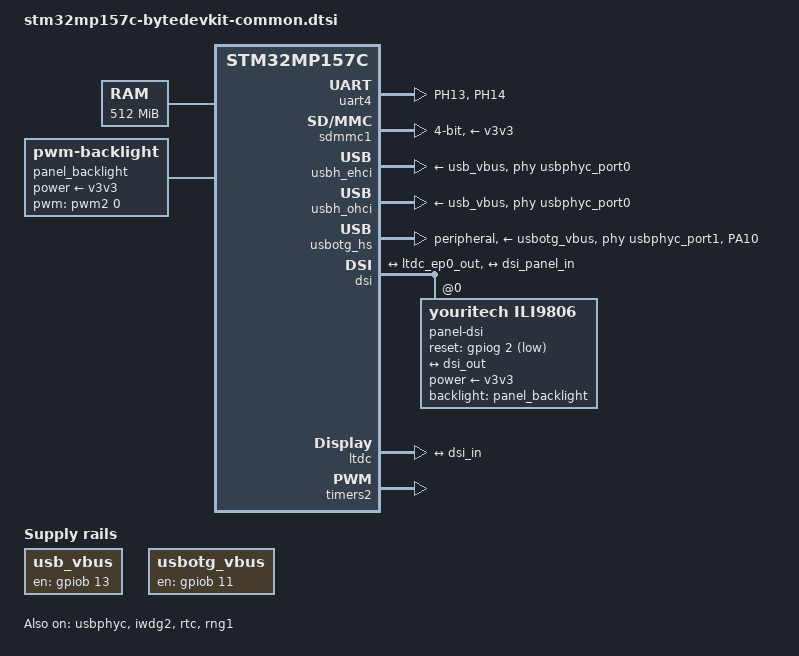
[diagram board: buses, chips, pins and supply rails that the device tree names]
// SPDX-License-Identifier: GPL-2.0
/*
 *  Copyright (C) 2020 bytes at work AG - http://www.bytesatwork.ch
 */

#include "stm32mp157c-byteengine-m5.dtsi"
#include <dt-bindings/net/ti-dp83867.h>

/ {
	aliases {
		serial0 = &uart4;
		ethernet0 = &ethernet0;
	};

	chosen {
		stdout-path = "serial0:115200n8";
	};

	memory@c0000000 {
		reg = <0xc0000000 0x20000000>;
	};

	usb_vbus: regulator-vbus {
		compatible = "regulator-fixed";
		regulator-name = "usb_en_vbus";
		gpio = <&gpiob 13 GPIO_ACTIVE_HIGH>;
		enable-active-high;
	};

	usbotg_vbus: regulator-vbus-otg {
		compatible = "regulator-fixed";
		regulator-name = "usbotg_en_vbus";
		gpio = <&gpiob 11 GPIO_ACTIVE_HIGH>;
		enable-active-high;
		regulator-boot-off;
	};

	panel_backlight: backlight {
		compatible = "pwm-backlight";
		pwms = <&pwm2 0 2000>;
		brightness-levels = <0 4 8 16 32 64 128 200 255>;
		default-brightness-level = <8>;
		power-supply = <&v3v3>;
	};
};

&pinctrl {
	uart4_pins_b: uart4-0 {
		pins1 {
			pinmux = <STM32_PINMUX('H', 13, AF8)>; /* UART4_TX */
			bias-disable;
			drive-push-pull;
			slew-rate = <0>;
		};

		pins2 {
			pinmux = <STM32_PINMUX('H', 14, AF8)>; /* UART4_RX */
			bias-disable;
		};
	};

	uart4_idle_pins_b: uart4-idle-0 {
		pins1 {
			pinmux = <STM32_PINMUX('H', 13, ANALOG)>; /* UART4_TX */
		};

		pins2 {
			pinmux = <STM32_PINMUX('H', 14, AF8)>; /* UART4_RX */
			bias-disable;
		};
	};

	uart4_sleep_pins_b: uart4-sleep-0 {
		pins {
			pinmux = <STM32_PINMUX('H', 13, ANALOG)>, /* UART4_TX */
				 <STM32_PINMUX('H', 14, ANALOG)>; /* UART4_RX */
		};
	};

	pwm2_pins: pwm2-0 {
		pins {
			pinmux = <STM32_PINMUX('G', 8, AF1)>; /* TIM2_CH1 */
			bias-pull-down;
			drive-push-pull;
			slew-rate = <0>;
		};
	};

	pwm2_sleep_pins: pwm2-sleep-0 {
		pins {
			pinmux = <STM32_PINMUX('G', 8, ANALOG)>; /* TIM2_CH1 */
		};
	};

	usbotg_hs_pins_a: usbotg_hs-0 {
		pins {
			pinmux = <STM32_PINMUX('A', 10, ANALOG)>; /* OTG_ID */            /* configure 'PA10' as ANALOG */
		};
	};
};

&uart4 {
	pinctrl-names = "default", "sleep", "idle", "no_console_suspend";
	pinctrl-0 = <&uart4_pins_b>;
	pinctrl-1 = <&uart4_sleep_pins_b>;
	pinctrl-2 = <&uart4_idle_pins_b>;
	pinctrl-3 = <&uart4_pins_b>;
	status = "okay";
};

&sdmmc1 {
	pinctrl-names = "default", "opendrain", "sleep";
	pinctrl-0 = <&sdmmc1_b4_pins_a>;
	pinctrl-1 = <&sdmmc1_b4_od_pins_a>;
	pinctrl-2 = <&sdmmc1_b4_sleep_pins_a>;
	broken-cd;
	st,neg-edge;
	bus-width = <4>;
	vmmc-supply = <&v3v3>;
	status = "okay";
};

&usbh_ehci {
	phys = <&usbphyc_port0>;
	phy-names = "usb";
	vbus-supply = <&usb_vbus>;
	status = "okay";
};

&usbh_ohci {
	phys = <&usbphyc_port0>;           /* Use USBPHYC HS PHY port, mapped on USBH controller */
	phy-names = "usb";
	vbus-supply = <&usb_vbus>;
	status = "okay";
};

&usbphyc {
	vdd3v3-supply = <&vdd_usb>;
	status = "okay";
};


/* USB OTG Port (peripheral only) */
&usbotg_hs {
	pinctrl-names = "default";
	pinctrl-0 = <&usbotg_hs_pins_a>;
	dr_mode = "peripheral";
	phys = <&usbphyc_port1 0>;
	phy-names = "usb2-phy";
	vbus-supply = <&usbotg_vbus>;
	status = "okay";
};

&iwdg2 {
	timeout-sec = <32>;
	status = "okay";
};

&dsi {
	#address-cells = <1>;
	#size-cells = <0>;
	status = "okay";

	ports {
		#address-cells = <1>;
		#size-cells = <0>;

		port@0 {
			reg = <0>;
			dsi_in: endpoint {
				remote-endpoint = <&ltdc_ep0_out>;
			};
		};

		port@1 {
			reg = <1>;
			dsi_out: endpoint {
				remote-endpoint = <&dsi_panel_in>;
			};
		};
	};

	panel-dsi@0 {
		compatible = "youritech,ili9806";
		reg = <0>;
		reset-gpios = <&gpiog 2 GPIO_ACTIVE_LOW>;
		power-supply = <&v3v3>;
		backlight = <&panel_backlight>;
		status = "okay";

		port {
			dsi_panel_in: endpoint {
				remote-endpoint = <&dsi_out>;
			};
		};
	};
};

&ltdc {
	status = "okay";

	port {
		#address-cells = <1>;
		#size-cells = <0>;

		ltdc_ep0_out: endpoint@0 {
			reg = <0>;
			remote-endpoint = <&dsi_in>;
		};
	};
};

/* Backlight PWM */
&timers2 {
	/* spare dmas for other usage (un-delete to enable pwm capture) */
	/delete-property/dmas;
	/delete-property/dma-names;
	status = "okay";

	pwm2: pwm {
		pinctrl-0 = <&pwm2_pins>;
		pinctrl-1 = <&pwm2_sleep_pins>;
		pinctrl-names = "default", "sleep";
		#pwm-cells = <2>;
		status = "okay";
	};
};

&rtc {
	status = "okay";
};

&rng1 {
	status = "okay";
};
